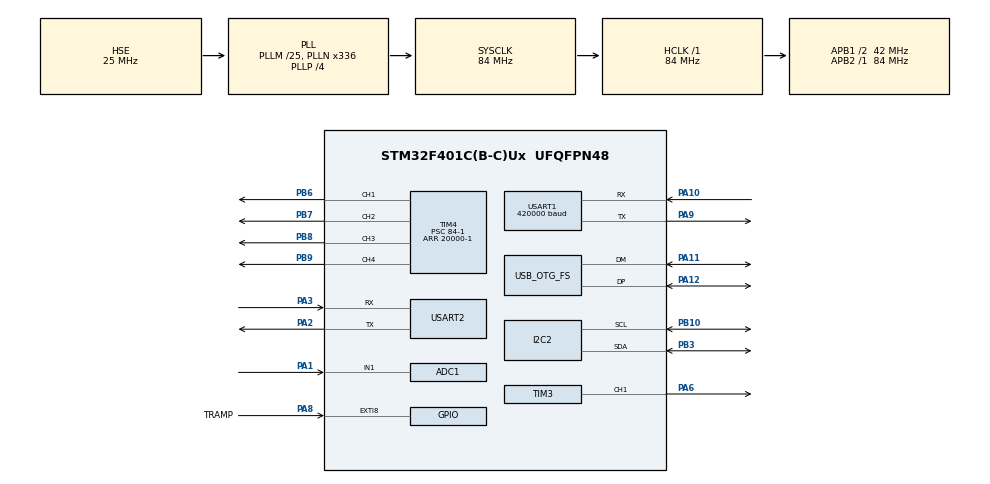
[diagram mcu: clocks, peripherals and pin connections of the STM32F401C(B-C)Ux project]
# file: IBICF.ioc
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ADC1.Channel-0\#ChannelRegularConversion=ADC_CHANNEL_1
ADC1.Channel-1\#ChannelRegularConversion=ADC_CHANNEL_VREFINT
ADC1.ContinuousConvMode=ENABLE
ADC1.DMAContinuousRequests=ENABLE
ADC1.NbrOfConversion=2
ADC1.NbrOfConversionFlag=1
ADC1.Rank-0\#ChannelRegularConversion=1
ADC1.Rank-1\#ChannelRegularConversion=2
ADC1.SamplingTime-0\#ChannelRegularConversion=ADC_SAMPLETIME_480CYCLES
ADC1.SamplingTime-1\#ChannelRegularConversion=ADC_SAMPLETIME_480CYCLES
ADC1.master=1
Dma.ADC1.0.Direction=DMA_PERIPH_TO_MEMORY
Dma.ADC1.0.FIFOMode=DMA_FIFOMODE_DISABLE
Dma.ADC1.0.Instance=DMA2_Stream0
Dma.ADC1.0.MemDataAlignment=DMA_MDATAALIGN_HALFWORD
Dma.ADC1.0.MemInc=DMA_MINC_ENABLE
Dma.ADC1.0.Mode=DMA_CIRCULAR
Dma.ADC1.0.PeriphDataAlignment=DMA_PDATAALIGN_HALFWORD
Dma.ADC1.0.PeriphInc=DMA_PINC_DISABLE
Dma.ADC1.0.Priority=DMA_PRIORITY_LOW
Dma.I2C2_RX.3.Direction=DMA_PERIPH_TO_MEMORY
Dma.I2C2_RX.3.FIFOMode=DMA_FIFOMODE_DISABLE
Dma.I2C2_RX.3.Instance=DMA1_Stream2
Dma.I2C2_RX.3.MemDataAlignment=DMA_MDATAALIGN_BYTE
Dma.I2C2_RX.3.MemInc=DMA_MINC_ENABLE
Dma.I2C2_RX.3.Mode=DMA_NORMAL
Dma.I2C2_RX.3.PeriphDataAlignment=DMA_PDATAALIGN_BYTE
Dma.I2C2_RX.3.PeriphInc=DMA_PINC_DISABLE
Dma.I2C2_RX.3.Priority=DMA_PRIORITY_MEDIUM
Dma.I2C2_TX.2.Direction=DMA_MEMORY_TO_PERIPH
Dma.I2C2_TX.2.FIFOMode=DMA_FIFOMODE_DISABLE
Dma.I2C2_TX.2.Instance=DMA1_Stream7
Dma.I2C2_TX.2.MemDataAlignment=DMA_MDATAALIGN_BYTE
Dma.I2C2_TX.2.MemInc=DMA_MINC_ENABLE
Dma.I2C2_TX.2.Mode=DMA_NORMAL
Dma.I2C2_TX.2.PeriphDataAlignment=DMA_PDATAALIGN_BYTE
Dma.I2C2_TX.2.PeriphInc=DMA_PINC_DISABLE
Dma.I2C2_TX.2.Priority=DMA_PRIORITY_MEDIUM
Dma.Request0=ADC1
Dma.Request1=USART1_RX
Dma.Request2=I2C2_TX
Dma.Request3=I2C2_RX
Dma.Request4=USART2_RX
Dma.Request5=TIM1_UP
Dma.TIM1_UP.5.Direction=DMA_MEMORY_TO_PERIPH
Dma.TIM1_UP.5.FIFOMode=DMA_FIFOMODE_DISABLE
Dma.TIM1_UP.5.Instance=DMA2_Stream5
Dma.TIM1_UP.5.MemDataAlignment=DMA_MDATAALIGN_WORD
Dma.TIM1_UP.5.MemInc=DMA_MINC_ENABLE
Dma.TIM1_UP.5.Mode=DMA_NORMAL
Dma.TIM1_UP.5.PeriphDataAlignment=DMA_PDATAALIGN_WORD
Dma.TIM1_UP.5.PeriphInc=DMA_PINC_DISABLE
Dma.TIM1_UP.5.Priority=DMA_PRIORITY_MEDIUM
Dma.USART1_RX.1.Direction=DMA_PERIPH_TO_MEMORY
Dma.USART1_RX.1.FIFOMode=DMA_FIFOMODE_DISABLE
Dma.USART1_RX.1.Instance=DMA2_Stream2
Dma.USART1_RX.1.MemDataAlignment=DMA_MDATAALIGN_BYTE
Dma.USART1_RX.1.MemInc=DMA_MINC_ENABLE
Dma.USART1_RX.1.Mode=DMA_CIRCULAR
Dma.USART1_RX.1.PeriphDataAlignment=DMA_PDATAALIGN_BYTE
Dma.USART1_RX.1.PeriphInc=DMA_PINC_DISABLE
Dma.USART1_RX.1.Priority=DMA_PRIORITY_MEDIUM
Dma.USART2_RX.4.Direction=DMA_PERIPH_TO_MEMORY
Dma.USART2_RX.4.FIFOMode=DMA_FIFOMODE_DISABLE
Dma.USART2_RX.4.Instance=DMA1_Stream5
Dma.USART2_RX.4.MemDataAlignment=DMA_MDATAALIGN_BYTE
Dma.USART2_RX.4.MemInc=DMA_MINC_ENABLE
Dma.USART2_RX.4.Mode=DMA_CIRCULAR
Dma.USART2_RX.4.PeriphDataAlignment=DMA_PDATAALIGN_BYTE
Dma.USART2_RX.4.PeriphInc=DMA_PINC_DISABLE
Dma.USART2_RX.4.Priority=DMA_PRIORITY_MEDIUM
FREERTOS.Tasks01=defaultTask,24,512,StartDefaultTask,Default,NULL,Static,defaultTaskBuffer,defaultTaskControlBlock
FREERTOS.configCHECK_FOR_STACK_OVERFLOW=2
FREERTOS.configENABLE_FPU=1
FREERTOS.configTOTAL_HEAP_SIZE=1024
I2C2.I2C_Mode=I2C_Fast
Mcu.Family=STM32F4
Mcu.Name=STM32F401C(B-C)Ux
Mcu.Package=UFQFPN48
NVIC.ADC_IRQn=true\:5\:0\:false\:false\:true\:true\:true\:true\:true
NVIC.DMA1_Stream2_IRQn=true\:5\:0\:false\:false\:true\:true\:false\:true\:true
NVIC.DMA1_Stream5_IRQn=true\:5\:0\:false\:false\:true\:true\:false\:true\:true
NVIC.DMA1_Stream7_IRQn=true\:5\:0\:false\:false\:true\:true\:false\:true\:true
NVIC.DMA2_Stream0_IRQn=true\:5\:0\:false\:false\:true\:true\:false\:true\:true
NVIC.DMA2_Stream2_IRQn=true\:5\:0\:false\:false\:true\:true\:false\:true\:true
NVIC.DMA2_Stream5_IRQn=true\:5\:0\:false\:false\:true\:true\:false\:true\:true
NVIC.EXTI9_5_IRQn=true\:5\:0\:false\:false\:true\:true\:true\:true\:true
NVIC.I2C2_ER_IRQn=true\:5\:0\:false\:false\:true\:true\:true\:true\:true
NVIC.I2C2_EV_IRQn=true\:5\:0\:false\:false\:true\:true\:true\:true\:true
NVIC.OTG_FS_IRQn=true\:5\:0\:false\:false\:true\:true\:false\:true\:true
NVIC.PriorityGroup=NVIC_PRIORITYGROUP_4
NVIC.TIM2_IRQn=true\:15\:0\:false\:false\:true\:false\:true\:true\:true
NVIC.TimeBase=TIM2_IRQn
NVIC.TimeBaseIP=TIM2
NVIC.USART1_IRQn=true\:5\:0\:false\:false\:true\:true\:true\:true\:true
NVIC.USART2_IRQn=true\:5\:0\:false\:false\:true\:true\:true\:true\:true
PA1.Signal=ADCx_IN1
PA10.Mode=Asynchronous
PA10.Signal=USART1_RX
PA11.Mode=Device_Only
PA11.Signal=USB_OTG_FS_DM
PA12.Mode=Device_Only
PA12.Signal=USB_OTG_FS_DP
PA13.Mode=Serial_Wire
PA13.Signal=SYS_JTMS-SWDIO
PA14.Mode=Serial_Wire
PA14.Signal=SYS_JTCK-SWCLK
PA2.Mode=Asynchronous
PA2.Signal=USART2_TX
PA3.Mode=Asynchronous
PA3.Signal=USART2_RX
PA6.Signal=S_TIM3_CH1
PA8.GPIO_Label=TRAMP
PA8.GPIO_ModeDefaultEXTI=GPIO_MODE_IT_FALLING
PA8.GPIO_PuPd=GPIO_PULLUP
PA8.Signal=GPXTI8
PA9.Mode=Asynchronous
PA9.Signal=USART1_TX
PB10.Mode=I2C
PB10.Signal=I2C2_SCL
PB3.Mode=I2C
PB3.Signal=I2C2_SDA
PB6.Signal=S_TIM4_CH1
PB7.Signal=S_TIM4_CH2
PB8.Signal=S_TIM4_CH3
PB9.Signal=S_TIM4_CH4
PH0\ -\ OSC_IN.Mode=HSE-External-Oscillator
PH0\ -\ OSC_IN.Signal=RCC_OSC_IN
PH1\ -\ OSC_OUT.Mode=HSE-External-Oscillator
PH1\ -\ OSC_OUT.Signal=RCC_OSC_OUT
ProjectManager.HeapSize=0x200
ProjectManager.StackSize=0x400
ProjectManager.TargetToolchain=CMake
RCC.48MHZClocksFreq_Value=48000000
RCC.AHBFreq_Value=84000000
RCC.APB1CLKDivider=RCC_HCLK_DIV2
RCC.APB1Freq_Value=42000000
RCC.APB1TimFreq_Value=84000000
RCC.APB2Freq_Value=84000000
RCC.APB2TimFreq_Value=84000000
RCC.CortexFreq_Value=84000000
RCC.HCLKFreq_Value=84000000
RCC.HSE_VALUE=25000000
RCC.HSI_VALUE=16000000
RCC.LSE_VALUE=32768
RCC.PLLM=25
RCC.PLLN=336
RCC.PLLP=RCC_PLLP_DIV4
RCC.PLLQ=7
RCC.SYSCLKFreq_VALUE=84000000
RCC.SYSCLKSource=RCC_SYSCLKSOURCE_PLLCLK
RCC.VCOOutputFreq_Value=336000000
SH.ADCx_IN1.0=ADC1_IN1,IN1
SH.S_TIM3_CH1.0=TIM3_CH1,PWM Generation1 CH1
SH.S_TIM4_CH1.0=TIM4_CH1,PWM Generation1 CH1
SH.S_TIM4_CH2.0=TIM4_CH2,PWM Generation2 CH2
SH.S_TIM4_CH3.0=TIM4_CH3,PWM Generation3 CH3
SH.S_TIM4_CH4.0=TIM4_CH4,PWM Generation4 CH4
TIM1.Period=1750-1
TIM1.Prescaler=5-1
TIM3.Channel-PWM\ Generation1\ CH1=TIM_CHANNEL_1
TIM3.Period=125-1
TIM3.Prescaler=84-1
TIM4.Channel-PWM\ Generation1\ CH1=TIM_CHANNEL_1
TIM4.Channel-PWM\ Generation2\ CH2=TIM_CHANNEL_2
TIM4.Channel-PWM\ Generation3\ CH3=TIM_CHANNEL_3
TIM4.Channel-PWM\ Generation4\ CH4=TIM_CHANNEL_4
TIM4.Period=20000-1
TIM4.Prescaler=84-1
USART1.BaudRate=420000
USART1.VirtualMode=VM_ASYNC
USART2.VirtualMode=VM_ASYNC
USB_DEVICE.CLASS_NAME_FS=CDC
USB_DEVICE.VirtualMode=Cdc
USB_DEVICE.VirtualModeFS=Cdc_FS
USB_OTG_FS.VirtualMode=Device_Only
VP_ADC1_Vref_Input.Mode=IN-Vrefint
VP_FREERTOS_VS_CMSIS_V2.Mode=CMSIS_V2
VP_SYS_VS_tim2.Mode=TIM2
VP_TIM1_VS_ClockSourceINT.Mode=Internal
VP_USB_DEVICE_VS_USB_DEVICE_CDC_FS.Mode=CDC_FS
board=custom

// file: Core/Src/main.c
/* USER CODE BEGIN Header */
/**
  ******************************************************************************
  * @file           : main.c
  * @brief          : Main program body
  ******************************************************************************
  * @attention
  *
  * Copyright (c) 2026 STMicroelectronics.
  * All rights reserved.
  *
  * This software is licensed under terms that can be found in the LICENSE file
  * in the root directory of this software component.
  * If no LICENSE file comes with this software, it is provided AS-IS.
  *
  ******************************************************************************
  */
/* USER CODE END Header */
#include "main.h"
#include "cmsis_os.h"
#include "adc.h"
#include "dma.h"
#include "i2c.h"
#include "tim.h"
#include "usart.h"
#include "usb_device.h"
#include "gpio.h"

/* USER CODE BEGIN Includes */
#include "usbd_cdc_if.h"
/* USER CODE END Includes */

/* USER CODE BEGIN PV */
extern void main_cpp();
/* USER CODE END PV */

void SystemClock_Config(void);
void MX_FREERTOS_Init(void);

/* USER CODE BEGIN 0 */
int _write(int file, char *ptr, int len) {
  // USBD_OK is 0
  while (CDC_Transmit_FS((uint8_t*)ptr, len) != USBD_OK) {
      // Wait if the USB is busy sending previous data
  }
  return len;
}
/* USER CODE END 0 */

int main(void)
{

  /* MCU Configuration--------------------------------------------------------*/

  /* Reset of all peripherals, Initializes the Flash interface and the Systick. */
  HAL_Init();

  /* Configure the system clock */
  SystemClock_Config();

  /* Initialize all configured peripherals */
  MX_GPIO_Init();
  MX_DMA_Init();
  MX_USART1_UART_Init();
  MX_TIM3_Init();
  MX_I2C2_Init();
  MX_TIM4_Init();
  MX_USART2_UART_Init();
  MX_ADC1_Init();
  MX_TIM1_Init();

  /* Init scheduler */
  osKernelInitialize();  /* Call init function for freertos objects (in cmsis_os2.c) */
  MX_FREERTOS_Init();

  /* Start scheduler */
  osKernelStart();

  /* We should never get here as control is now taken by the scheduler */

  /* Infinite loop */
  while (1)
  {

  }
}

void SystemClock_Config(void)
{
  RCC_OscInitTypeDef RCC_OscInitStruct = {0};
  RCC_ClkInitTypeDef RCC_ClkInitStruct = {0};

  /** Configure the main internal regulator output voltage
  */
  __HAL_RCC_PWR_CLK_ENABLE();
  __HAL_PWR_VOLTAGESCALING_CONFIG(PWR_REGULATOR_VOLTAGE_SCALE2);

  /** Initializes the RCC Oscillators according to the specified parameters
  * in the RCC_OscInitTypeDef structure.
  */
  RCC_OscInitStruct.OscillatorType = RCC_OSCILLATORTYPE_HSE;
  RCC_OscInitStruct.HSEState = RCC_HSE_ON;
  RCC_OscInitStruct.PLL.PLLState = RCC_PLL_ON;
  RCC_OscInitStruct.PLL.PLLSource = RCC_PLLSOURCE_HSE;
  RCC_OscInitStruct.PLL.PLLM = 25;
  RCC_OscInitStruct.PLL.PLLN = 336;
  RCC_OscInitStruct.PLL.PLLP = RCC_PLLP_DIV4;
  RCC_OscInitStruct.PLL.PLLQ = 7;
  if (HAL_RCC_OscConfig(&RCC_OscInitStruct) != HAL_OK)
  {
    Error_Handler();
  }

  /** Initializes the CPU, AHB and APB buses clocks
  */
  RCC_ClkInitStruct.ClockType = RCC_CLOCKTYPE_HCLK|RCC_CLOCKTYPE_SYSCLK
                              |RCC_CLOCKTYPE_PCLK1|RCC_CLOCKTYPE_PCLK2;
  RCC_ClkInitStruct.SYSCLKSource = RCC_SYSCLKSOURCE_PLLCLK;
  RCC_ClkInitStruct.AHBCLKDivider = RCC_SYSCLK_DIV1;
  RCC_ClkInitStruct.APB1CLKDivider = RCC_HCLK_DIV2;
  RCC_ClkInitStruct.APB2CLKDivider = RCC_HCLK_DIV1;

  if (HAL_RCC_ClockConfig(&RCC_ClkInitStruct, FLASH_LATENCY_2) != HAL_OK)
  {
    Error_Handler();
  }
}

void HAL_TIM_PeriodElapsedCallback(TIM_HandleTypeDef *htim)
{
  if (htim->Instance == TIM2)
  {
    HAL_IncTick();
  }
}

void Error_Handler(void)
{
  __disable_irq();
  while (1)
  {
  }
}

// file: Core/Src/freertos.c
/* USER CODE BEGIN Header */
/**
  ******************************************************************************
  * File Name          : freertos.c
  * Description        : Code for freertos applications
  ******************************************************************************
  * @attention
  *
  * Copyright (c) 2026 STMicroelectronics.
  * All rights reserved.
  *
  * This software is licensed under terms that can be found in the LICENSE file
  * in the root directory of this software component.
  * If no LICENSE file comes with this software, it is provided AS-IS.
  *
  ******************************************************************************
  */
/* USER CODE END Header */

#include "FreeRTOS.h"
#include "task.h"
#include "main.h"
#include "cmsis_os.h"

typedef StaticTask_t osStaticThreadDef_t;

/* USER CODE BEGIN Variables */
extern void main_cpp();
/* USER CODE END Variables */
/* Definitions for defaultTask */
osThreadId_t defaultTaskHandle;
uint32_t defaultTaskBuffer[ 512 ];
osStaticThreadDef_t defaultTaskControlBlock;
const osThreadAttr_t defaultTask_attributes = {
  .name = "defaultTask",
  .cb_mem = &defaultTaskControlBlock,
  .cb_size = sizeof(defaultTaskControlBlock),
  .stack_mem = &defaultTaskBuffer[0],
  .stack_size = sizeof(defaultTaskBuffer),
  .priority = (osPriority_t) osPriorityNormal,
};

void StartDefaultTask(void *argument);

extern void MX_USB_DEVICE_Init(void);
void MX_FREERTOS_Init(void); /* (MISRA C 2004 rule 8.1) */

/* Hook prototypes */
void vApplicationStackOverflowHook(xTaskHandle xTask, signed char *pcTaskName);

/* USER CODE BEGIN 4 */
void vApplicationStackOverflowHook(xTaskHandle xTask, signed char *pcTaskName)
{
  __disable_irq();

  /* Enable GPIOC clock (in case it wasn't already) */
  RCC->AHB1ENR |= RCC_AHB1ENR_GPIOCEN;

  /* Configure PC13 as general purpose output push-pull */
  GPIOC->MODER &= ~(GPIO_MODER_MODER13);
  GPIOC->MODER |= (GPIO_MODER_MODER13_0);   // 01 = output mode
  GPIOC->OTYPER &= ~(GPIO_OTYPER_OT13);       // push-pull
  GPIOC->OSPEEDR &= ~GPIO_OSPEEDR_OSPEED13;  // low speed

  for (;;)
  {
    GPIOC->ODR ^= GPIO_ODR_OD13;   // toggle PC13

    /* crude busy-wait delay - tune the count for your fast-blink rate */
    for (volatile uint32_t i = 0; i < 500000; i++)
    {
        __NOP();
    }
  }
}
/* USER CODE END 4 */

void MX_FREERTOS_Init(void) {

  /* Create the thread(s) */
  /* creation of defaultTask */
  defaultTaskHandle = osThreadNew(StartDefaultTask, NULL, &defaultTask_attributes);

}

void StartDefaultTask(void *argument)
{
  /* init code for USB_DEVICE */
  MX_USB_DEVICE_Init();
  /* USER CODE BEGIN StartDefaultTask */
  main_cpp();
  /* Infinite loop */
  for(;;)
  {
    osDelay(1);
  }
  /* USER CODE END StartDefaultTask */
}
